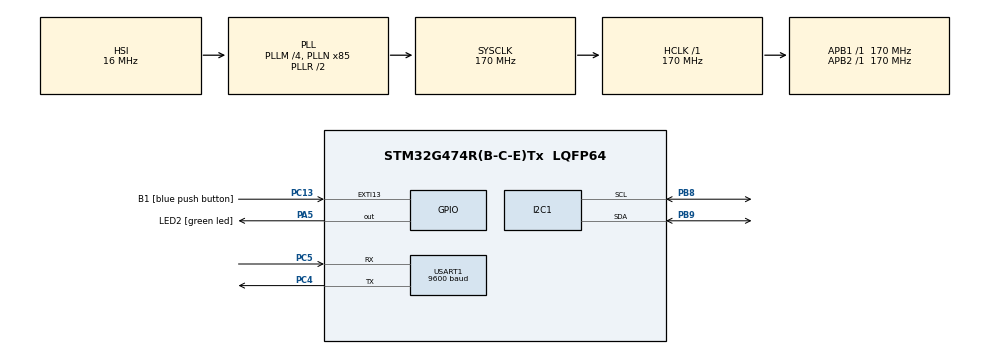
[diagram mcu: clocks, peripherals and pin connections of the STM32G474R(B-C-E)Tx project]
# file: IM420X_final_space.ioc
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FREERTOS.Mutexes01=spRXPositionMutex,Dynamic,NULL
FREERTOS.Tasks01=identifyMagneti,43,512,startidentifyMagneticFieldTask,Default,NULL,Dynamic,NULL,NULL;estimatePositio,35,128,startEstimatePosition,Default,NULL,Dynamic,NULL,NULL;sendData,8,256,startSendData,Default,NULL,Dynamic,NULL,NULL
FREERTOS.Timers01=my22HzTimer,my22HzTimerCallback,osTimerPeriodic,Default,NULL,Dynamic,NULL
FREERTOS.configCHECK_FOR_STACK_OVERFLOW=0
FREERTOS.configTOTAL_HEAP_SIZE=8096
FREERTOS.configUSE_NEWLIB_REENTRANT=1
I2C1.Timing=0x30A0A7FB
Mcu.Family=STM32G4
Mcu.Name=STM32G474R(B-C-E)Tx
Mcu.Package=LQFP64
NVIC.EXTI15_10_IRQn=true\:5\:0\:false\:false\:true\:true\:true\:true\:true
NVIC.PriorityGroup=NVIC_PRIORITYGROUP_4
NVIC.TIM6_DAC_IRQn=true\:5\:0\:false\:false\:true\:true\:true\:true\:true
NVIC.TIM7_DAC_IRQn=true\:15\:0\:false\:false\:true\:false\:false\:true\:true
NVIC.TimeBase=TIM7_DAC_IRQn
NVIC.TimeBaseIP=TIM7
NVIC.USART1_IRQn=true\:5\:0\:false\:false\:true\:true\:true\:true\:true
PA13.GPIO_Label=T_SWDIO
PA13.Mode=Serial_Wire
PA13.Signal=SYS_JTMS-SWDIO
PA14.GPIO_Label=T_SWCLK
PA14.Mode=Serial_Wire
PA14.Signal=SYS_JTCK-SWCLK
PA2.GPIO_Label=LPUART1_TX [STLINKV3E_VCP_RX]
PA2.Signal=LPUART1_TX
PA3.GPIO_Label=LPUART1_RX [STLINKV3E_VCP_TX]
PA3.Signal=LPUART1_RX
PA5.GPIO_Label=LED2 [green led]
PA5.Signal=GPIO_Output
PB3.GPIO_Label=T_SWO
PB3.Signal=SYS_JTDO-SWO
PB8-BOOT0.Mode=I2C
PB8-BOOT0.Signal=I2C1_SCL
PB9.Mode=I2C
PB9.Signal=I2C1_SDA
PC13.GPIO_Label=B1 [blue push button]
PC13.Signal=GPXTI13
PC14-OSC32_IN.Mode=LSE-External-Oscillator
PC14-OSC32_IN.Signal=RCC_OSC32_IN
PC15-OSC32_OUT.Mode=LSE-External-Oscillator
PC15-OSC32_OUT.Signal=RCC_OSC32_OUT
PC4.Mode=Asynchronous
PC4.Signal=USART1_TX
PC5.Mode=Asynchronous
PC5.Signal=USART1_RX
PF0-OSC_IN.Mode=HSE-External-Oscillator
PF0-OSC_IN.Signal=RCC_OSC_IN
PF1-OSC_OUT.Mode=HSE-External-Oscillator
PF1-OSC_OUT.Signal=RCC_OSC_OUT
ProjectManager.HeapSize=0x200
ProjectManager.StackSize=0x400
ProjectManager.TargetToolchain=STM32CubeIDE
RCC.ADC12Freq_Value=170000000
RCC.ADC345Freq_Value=170000000
RCC.AHBFreq_Value=170000000
RCC.APB1Freq_Value=170000000
RCC.APB1TimFreq_Value=170000000
RCC.APB2Freq_Value=170000000
RCC.APB2TimFreq_Value=170000000
RCC.CortexFreq_Value=170000000
RCC.EXTERNAL_CLOCK_VALUE=12288000
RCC.HCLKFreq_Value=170000000
RCC.HSE_VALUE=24000000
RCC.HSI48_VALUE=48000000
RCC.HSI_VALUE=16000000
RCC.PLLM=RCC_PLLM_DIV4
RCC.PLLN=85
RCC.RTCClockSelection=RCC_RTCCLKSOURCE_LSE
RCC.SYSCLKFreq_VALUE=170000000
RCC.SYSCLKSource=RCC_SYSCLKSOURCE_PLLCLK
RCC.USBFreq_Value=170000000
RCC.VCOOutputFreq_Value=340000000
TIM6.PeriodNoDither=100 - 1
TIM6.Prescaler=7727 - 1
USART1.BaudRate=9600
USART1.VirtualMode-Asynchronous=VM_ASYNC
VP_FREERTOS_VS_CMSIS_V2.Mode=CMSIS_V2
VP_SYS_VS_DBSignals.Mode=DisableDeadBatterySignals
VP_SYS_VS_tim7.Mode=TIM7
VP_TIM6_VS_ClockSourceINT.Mode=Enable_Timer
board=NUCLEO-G474RE

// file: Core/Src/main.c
/* USER CODE BEGIN Header */
/**
 ******************************************************************************
 * @file           : main.c
 * @brief          : Main program body
 ******************************************************************************
 * @attention
 *
 * <h2><center>&copy; Copyright (c) 2021 STMicroelectronics.
 * All rights reserved.</center></h2>
 *
 * This software component is licensed by ST under BSD 3-Clause license,
 * the "License"; You may not use this file except in compliance with the
 * License. You may obtain a copy of the License at:
 *                        opensource.org/licenses/BSD-3-Clause
 *
 ******************************************************************************
 */
/* USER CODE END Header */
#include "main.h"
#include "cmsis_os.h"
#include "i2c.h"
#include "tim.h"
#include "usart.h"
#include "gpio.h"

/* USER CODE BEGIN Includes */
#include <string.h>
#include <stdio.h>
#include <math.h>

#include "my_lsm303dlhc.h"
/* USER CODE END Includes */

void SystemClock_Config(void);
void MX_FREERTOS_Init(void);

/* USER CODE BEGIN 0 */
int _write(int file, char *ptr, int len) {
	if (HAL_UART_Transmit_IT(&huart1, (uint8_t*) ptr, len) != HAL_OK) {
		Error_Handler();
	}

	return len;
}

void initMagnetiFieldISR() {
	HAL_TIM_Base_Start_IT(&htim6);
}

void stopMagnetiFieldISR() {
	HAL_TIM_Base_Stop_IT(&htim6);
}

/**
 * Prototype a sample magnetic field function. The function itself will is implemented
 * at app_freertos.c among other functions.
 */
__weak void sampleMagneticFieldISR(I2C_HandleTypeDef *i2c);
/* USER CODE END 0 */

int main(void) {

	/* MCU Configuration--------------------------------------------------------*/

	/* Reset of all peripherals, Initializes the Flash interface and the Systick. */
  	HAL_Init();

	/* Configure the system clock */
	SystemClock_Config();

	/* Initialize all configured peripherals */
	MX_GPIO_Init();
	MX_I2C1_Init();
	MX_USART1_UART_Init();
	MX_TIM6_Init();
	/* USER CODE BEGIN 2 */

	/*
	 * Initialize the LSM303 sensor here
	 */
	while (initializeLSM303DHLC(&hi2c1) != HAL_OK) {
		printf("Trying to connect with sensor. Check wires!\r\n");
		HAL_Delay(1000);
	}

	HAL_Delay(500);

	printf("frame;node;mag_x;mag_y;mag_z\r\n");

	/* USER CODE END 2 */

	/* Init scheduler */
	osKernelInitialize(); /* Call init function for freertos objects (in freertos.c) */
	MX_FREERTOS_Init();

	/* Start scheduler */
	osKernelStart();

	/* We should never get here as control is now taken by the scheduler */
	/* Infinite loop */
	/* USER CODE BEGIN WHILE */

	// Start timer
	while (1) {

		/* USER CODE END WHILE */

	}
}

void SystemClock_Config(void) {
	RCC_OscInitTypeDef RCC_OscInitStruct = { 0 };
	RCC_ClkInitTypeDef RCC_ClkInitStruct = { 0 };

	/** Configure the main internal regulator output voltage
	 */
	HAL_PWREx_ControlVoltageScaling(PWR_REGULATOR_VOLTAGE_SCALE1_BOOST);

	/** Initializes the RCC Oscillators according to the specified parameters
	 * in the RCC_OscInitTypeDef structure.
	 */
	RCC_OscInitStruct.OscillatorType = RCC_OSCILLATORTYPE_HSI;
	RCC_OscInitStruct.HSIState = RCC_HSI_ON;
	RCC_OscInitStruct.HSICalibrationValue = RCC_HSICALIBRATION_DEFAULT;
	RCC_OscInitStruct.PLL.PLLState = RCC_PLL_ON;
	RCC_OscInitStruct.PLL.PLLSource = RCC_PLLSOURCE_HSI;
	RCC_OscInitStruct.PLL.PLLM = RCC_PLLM_DIV4;
	RCC_OscInitStruct.PLL.PLLN = 85;
	RCC_OscInitStruct.PLL.PLLP = RCC_PLLP_DIV2;
	RCC_OscInitStruct.PLL.PLLQ = RCC_PLLQ_DIV2;
	RCC_OscInitStruct.PLL.PLLR = RCC_PLLR_DIV2;
	if (HAL_RCC_OscConfig(&RCC_OscInitStruct) != HAL_OK) {
		Error_Handler();
	}

	/** Initializes the CPU, AHB and APB buses clocks
	 */
	RCC_ClkInitStruct.ClockType = RCC_CLOCKTYPE_HCLK | RCC_CLOCKTYPE_SYSCLK
			| RCC_CLOCKTYPE_PCLK1 | RCC_CLOCKTYPE_PCLK2;
	RCC_ClkInitStruct.SYSCLKSource = RCC_SYSCLKSOURCE_PLLCLK;
	RCC_ClkInitStruct.AHBCLKDivider = RCC_SYSCLK_DIV1;
	RCC_ClkInitStruct.APB1CLKDivider = RCC_HCLK_DIV1;
	RCC_ClkInitStruct.APB2CLKDivider = RCC_HCLK_DIV1;

	if (HAL_RCC_ClockConfig(&RCC_ClkInitStruct, FLASH_LATENCY_4) != HAL_OK) {
		Error_Handler();
	}
}

void HAL_TIM_PeriodElapsedCallback(TIM_HandleTypeDef *htim) {
	if (htim->Instance == TIM7) {
		HAL_IncTick();
	}
	/* USER CODE BEGIN Callback 1 */

	if (htim->Instance == TIM6) {
		sampleMagneticFieldISR(&hi2c1);
	}

	/* USER CODE END Callback 1 */
}

void Error_Handler(void) {
	/* USER CODE BEGIN Error_Handler_Debug */
	/* User can add his own implementation to report the HAL error return state */
	__disable_irq();
	while (1) {
		printf("ERROR\r\n");
		HAL_Delay(1000);
	}

	/* USER CODE END Error_Handler_Debug */
}

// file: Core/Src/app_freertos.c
/* USER CODE BEGIN Header */
/**
 ******************************************************************************
 * File Name          : app_freertos.c
 * Description        : Code for freertos applications
 ******************************************************************************
 * @attention
 *
 * <h2><center>&copy; Copyright (c) 2021 STMicroelectronics.
 * All rights reserved.</center></h2>
 *
 * This software component is licensed by ST under Ultimate Liberty license
 * SLA0044, the "License"; You may not use this file except in compliance with
 * the License. You may obtain a copy of the License at:
 *                             www.st.com/SLA0044
 *
 ******************************************************************************
 */
/* USER CODE END Header */

#include "FreeRTOS.h"
#include "task.h"
#include "main.h"
#include "cmsis_os.h"

/* USER CODE BEGIN Includes */
#include <stdio.h>
#include <complex.h>
#include <math.h>
#include <stddef.h>
#include "my_lsm303dlhc.h"
#include "magnetic_field.h"
#include <dft.h>
#include "usart.h"

/* USER CODE END Includes */

/* USER CODE BEGIN Variables */
MagneticFieldSource mf_nodes[] = {
		[0] = {
			.id = 1,
			.i_frequency = 20,
			.d_magnetic_moment = 0.3079766512291005,
			.d_magnetic_cte =
					1.581938 * 0.3079766512291005 * MAGNETIC_PERMEABILITY / (PI_4),
			.sp_position = { .x = 0.0, .y = 0.0, .z = 0.0 },
			.mf_intensity = { .x = 0.0, .y = 0.0, .z = 0.0 }
			},
		[1] = {
			.id = 3,
			.i_frequency = 50,
			.d_magnetic_moment = 0.6997897635871264,
			.d_magnetic_cte =
					0.6997897635871264 * MAGNETIC_PERMEABILITY / (PI_4),
			.sp_position = { .x = 0.0, .y = 0.0, .z = 0.0 },
			.mf_intensity = { .x = 0.0, .y = 0.0, .z = 0.0 }
			},
		[2] = {
			.id = 2,
			.i_frequency = 80,
			.d_magnetic_moment = 0.6997897635871264,
			.d_magnetic_cte =
					0.6997897635871264 * MAGNETIC_PERMEABILITY / (PI_4),
			.sp_position = { .x = 0.0, .y = 0.0, .z = 0.0 },
			.mf_intensity = { .x = 0.0, .y = 0.0, .z = 0.0}
			}
	};

SpacePosition sp_rx_position = { .x = 0, .y = 0, .z = 0 };

MagneticFieldComplex cmf_samples[2][SAMPLE_SIZE];
MagneticField mf_samples_buff[2][SAMPLE_SIZE];

uint8_t buffer_index = 0;
uint8_t buffer_index_to_retrive_data;

uint16_t ui16_sample_index = 0;

/* USER CODE END Variables */
/* Definitions for identifyMagneti */
osThreadId_t identifyMagnetiHandle;
const osThreadAttr_t identifyMagneti_attributes = { .name = "identifyMagneti",
		.priority = (osPriority_t) osPriorityHigh3, .stack_size = 512 * 4 };
/* Definitions for estimatePositio */
osThreadId_t estimatePositioHandle;
const osThreadAttr_t estimatePositio_attributes =
		{ .name = "estimatePositio", .priority =
				(osPriority_t) osPriorityAboveNormal3, .stack_size = 128 * 4 };
/* Definitions for sendData */
osThreadId_t sendDataHandle;
const osThreadAttr_t sendData_attributes = { .name = "sendData", .priority =
		(osPriority_t) osPriorityLow, .stack_size = 256 * 4 };
/* Definitions for my22HzTimer */
osTimerId_t my22HzTimerHandle;
const osTimerAttr_t my22HzTimer_attributes = { .name = "my22HzTimer" };
/* Definitions for spRXPositionMutex */
osMutexId_t spRXPositionMutexHandle;
const osMutexAttr_t spRXPositionMutex_attributes =
		{ .name = "spRXPositionMutex" };

/* USER CODE BEGIN FunctionPrototypes */
__weak void initMagnetiFieldISR();
__weak void stopMagnetiFieldISR();

void sampleMagneticFieldISR(I2C_HandleTypeDef *i2c);
void sendPositionData();
/* USER CODE END FunctionPrototypes */

void startidentifyMagneticFieldTask(void *argument);
void startEstimatePosition(void *argument);
void startSendData(void *argument);
void my22HzTimerCallback(void *argument);

void MX_FREERTOS_Init(void); /* (MISRA C 2004 rule 8.1) */

void MX_FREERTOS_Init(void) {
	/* USER CODE BEGIN Init */
	initDFT(SAMPLE_SIZE);
	/* USER CODE END Init */
	/* Create the mutex(es) */
	/* creation of spRXPositionMutex */
	spRXPositionMutexHandle = osMutexNew(&spRXPositionMutex_attributes);

	/* Create the timer(s) */
	/* creation of my22HzTimer */
	my22HzTimerHandle = osTimerNew(my22HzTimerCallback, osTimerPeriodic, NULL,
			&my22HzTimer_attributes);

	/* USER CODE BEGIN RTOS_TIMERS */
	/* start timers, add new ones, ... */
	osTimerStart(my22HzTimerHandle, (uint16_t) (DATA_SAMPLE_PERIOD * 1000));

	/* USER CODE END RTOS_TIMERS */

	/* Create the thread(s) */
	/* creation of identifyMagneti */
	identifyMagnetiHandle = osThreadNew(startidentifyMagneticFieldTask, NULL,
			&identifyMagneti_attributes);

	/* creation of estimatePositio */
	estimatePositioHandle = osThreadNew(startEstimatePosition, NULL,
			&estimatePositio_attributes);

	/* creation of sendData */
	sendDataHandle = osThreadNew(startSendData, NULL, &sendData_attributes);

	/* USER CODE BEGIN RTOS_THREADS */
	/* add threads, ... */
	initMagnetiFieldISR();
	/* USER CODE END RTOS_THREADS */

}

void startidentifyMagneticFieldTask(void *argument) {
	/* USER CODE BEGIN startidentifyMagneticFieldTask */

	/* Infinite loop */
	for (;;) {
		osThreadFlagsWait(0x0001U, osFlagsWaitAny, osWaitForever);

		buffer_index_to_retrive_data = (buffer_index + 1) % 2;

		identifyMagneticField(cmf_samples[buffer_index_to_retrive_data], mf_nodes);

		initMagnetiFieldISR();

		osThreadFlagsSet(estimatePositioHandle, 0x0001U);
	}
	/* USER CODE END startidentifyMagneticFieldTask */
}

void startEstimatePosition(void *argument) {
	/* USER CODE BEGIN startEstimatePosition */

	/* Infinite loop */
	for (;;) {
		osThreadFlagsWait(0x0001U, osFlagsWaitAny, osWaitForever);
		if (osMutexAcquire(spRXPositionMutexHandle, osWaitForever) == osOK) {
			sp_rx_position = estimatePoisition(mf_nodes);

			osMutexRelease(spRXPositionMutexHandle);

			osThreadFlagsSet(sendDataHandle, 0x0001U);
		}
	}

	osThreadTerminate(NULL);
	/* USER CODE END startEstimatePosition */
}

void startSendData(void *argument) {
	/* USER CODE BEGIN startSendData */
	/* Infinite loop */
	for (;;) {
		osThreadFlagsWait(0x0001U, osFlagsWaitAny, osWaitForever);

		printf("EsPos: x=%.2f y=%.2f z=%.2f\r\n", sp_rx_position.x,
				sp_rx_position.y, sp_rx_position.z);

		buffer_index_to_retrive_data = (buffer_index + 1) % 2;

		//mf_samples[buffer_index_to_retrive_data];
		/*
		 for (int node = 0; node < SAMPLE_SIZE; node++)
		 {
		 MagneticField sample = mf_samples[buffer_index_to_retrive_data][node];

		 printf("%d;%9.4f;%9.4f;%9.4f\r\n", node, sample.x, sample.y, sample.z);

		 while (HAL_UART_GetState(&huart1) != HAL_UART_STATE_READY)
		 {
		 }
		 }
		 */

	}

	osThreadTerminate(NULL);
	/* USER CODE END startSendData */
}

/* my22HzTimerCallback function */
void my22HzTimerCallback(void *argument) {
	/* USER CODE BEGIN my22HzTimerCallback */
	//
	//
	/* USER CODE END my22HzTimerCallback */
}

/* USER CODE BEGIN Application */
void sampleMagneticFieldISR(I2C_HandleTypeDef *i2c) {
	if (ui16_sample_index == SAMPLE_SIZE) {

		stopMagnetiFieldISR();
		osThreadFlagsSet(identifyMagnetiHandle, 0x0001U);

		HAL_GPIO_TogglePin(LED2_GPIO_Port, LED2_Pin);

		ui16_sample_index = 0;

		for(int i = 0; i < SAMPLE_SIZE; i++){
			cmf_samples[buffer_index][i].x = 0;
			cmf_samples[buffer_index][i].y = 0;
			cmf_samples[buffer_index][i].z = 0;

			mf_samples_buff[buffer_index][i].x = 0;
			mf_samples_buff[buffer_index][i].y = 0;
			mf_samples_buff[buffer_index][i].z = 0;
		}

		buffer_index = (buffer_index + 1) % 2;
	}

	mf_samples_buff[buffer_index][ui16_sample_index] = sampleMagneticField(
			readMagnetometerData, i2c);

	computeDFT(mf_samples_buff[buffer_index][ui16_sample_index],
			cmf_samples[buffer_index], mf_samples_buff[buffer_index],
			(int) ui16_sample_index);

	ui16_sample_index++;
}
/* USER CODE END Application */
